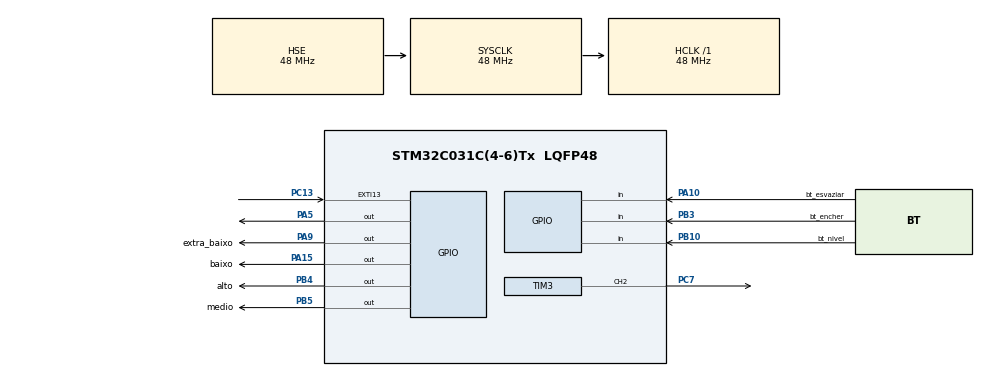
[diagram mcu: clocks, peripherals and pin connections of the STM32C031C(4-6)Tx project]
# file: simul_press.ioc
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Mcu.Family=STM32C0
Mcu.Name=STM32C031C(4-6)Tx
Mcu.Package=LQFP48
NUCLEO-C031C6.BUTTON=1
NUCLEO-C031C6.LD4=true
NUCLEO-C031C6.VCP=true
NVIC.EXTI4_15_IRQn=true\:0\:0\:false\:false\:true\:true\:true\:true
PA10.GPIO_Label=bt_esvaziar
PA10.GPIO_PuPd=GPIO_PULLUP
PA10.Signal=GPIO_Input
PA13.GPIO_Label=DEBUG_SWDIO
PA13.Signal=DEBUG_SWDIO
PA14-BOOT0.GPIO_Label=DEBUG_SWCLK
PA14-BOOT0.Signal=DEBUG_SWCLK
PA15.GPIO_Label=baixo
PA15.Signal=GPIO_Output
PA2.Signal=USART2_TX
PA3.Signal=USART2_RX
PA5.Signal=GPIO_Output
PA9.GPIO_Label=extra_baixo
PA9.Signal=GPIO_Output
PB10.GPIO_Label=bt_nivel
PB10.GPIO_PuPd=GPIO_PULLUP
PB10.Signal=GPIO_Input
PB3.GPIO_Label=bt_encher
PB3.GPIO_PuPd=GPIO_PULLUP
PB3.Signal=GPIO_Input
PB4.GPIO_Label=alto
PB4.Signal=GPIO_Output
PB5.GPIO_Label=medio
PB5.Signal=GPIO_Output
PC13.Signal=GPXTI13
PC14-OSCX_IN\ (PC14).GPIO_Label=RCC_OSCX_IN
PC14-OSCX_IN\ (PC14).Mode=LSE-External-Oscillator
PC14-OSCX_IN\ (PC14).Signal=RCC_OSCX_IN
PC15-OSCX_OUT\ (PC15).GPIO_Label=RCC_OSCX_OUT
PC15-OSCX_OUT\ (PC15).Mode=LSE-External-Oscillator
PC15-OSCX_OUT\ (PC15).Signal=RCC_OSCX_OUT
PC7.Signal=S_TIM3_CH2
PF0-OSC_IN\ (PF0).GPIO_Label=RCC_OSC_IN
PF0-OSC_IN\ (PF0).Mode=HSE-External-Oscillator
PF0-OSC_IN\ (PF0).Signal=RCC_OSC_IN
PF1-OSC_OUT\ (PF1).GPIO_Label=RCC_OSC_OUT
PF1-OSC_OUT\ (PF1).Mode=HSE-External-Oscillator
PF1-OSC_OUT\ (PF1).Signal=RCC_OSC_OUT
ProjectManager.HeapSize=0x200
ProjectManager.StackSize=0x400
ProjectManager.TargetToolchain=STM32CubeIDE
RCC.ADCFreq_Value=48000000
RCC.AHBFreq_Value=48000000
RCC.CortexFreq_Value=48000000
RCC.EXTERNAL_CLOCK_VALUE=12288000
RCC.HCLKFreq_Value=48000000
RCC.HSE_VALUE=48000000
RCC.HSISYSCLKDivider=RCC_HSI_DIV1
RCC.HSI_VALUE=48000000
RCC.SYSCLKFreq_VALUE=48000000
RCC.SYSCLKSource=RCC_SYSCLKSOURCE_HSE
SH.S_TIM3_CH2.0=TIM3_CH2,PWM Generation2 CH2
TIM3.Channel-PWM\ Generation2\ CH2=TIM_CHANNEL_2
TIM3.Period=1810
VP_NUCLEO-C031C6_VS_BSP_COMMON.Mode=COMMON
VP_TIM3_VS_ClockSourceINT.Mode=Internal
board=NUCLEO-C031C6

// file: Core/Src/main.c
/* USER CODE BEGIN Header */
/**
  ******************************************************************************
  * @file           : main.c
  * @brief          : Main program body
  ******************************************************************************
  * @attention
  *
  * Copyright (c) 2025 STMicroelectronics.
  * All rights reserved.
  *
  * This software is licensed under terms that can be found in the LICENSE file
  * in the root directory of this software component.
  * If no LICENSE file comes with this software, it is provided AS-IS.
  *
  ******************************************************************************
  */
/* USER CODE END Header */
#include "main.h"

/* USER CODE BEGIN PD */
#define FREQ_EXTRA_BAIXO   24850
#define FREQ_BAIXO         24300
#define FREQ_MEDIO         23500
#define FREQ_ALTO          22340
#define FREQ_VAZIO         26500

typedef enum {
	NIVEL_NENHUM = 0,
    NIVEL_EXTRA_BAIXO,
    NIVEL_BAIXO,
    NIVEL_MEDIO,
    NIVEL_ALTO
} NivelPressostato;

NivelPressostato nivelAtual = NIVEL_NENHUM;
uint32_t freqAlvo = FREQ_EXTRA_BAIXO;
uint32_t freqAtual = FREQ_VAZIO;

/* USER CODE END PD */

COM_InitTypeDef BspCOMInit;

TIM_HandleTypeDef htim3;

/* USER CODE BEGIN PV */
uint8_t enchendo = 0;
uint8_t esvaziando = 0;
uint32_t last_nivel_press_time = 0;
uint32_t last_encher_press_time = 0;
uint32_t last_esvaziar_press_time = 0;
const uint32_t DEBOUNCE_TIME = 400; // 400ms
uint32_t last_freq_update_time = 0;
uint32_t lastBlinkTime = 0;
uint8_t ledState = 0;
/* USER CODE END PV */

void SystemClock_Config(void);
static void MX_GPIO_Init(void);
static void MX_TIM3_Init(void);
/* USER CODE BEGIN PFP */
void PWM_SetFrequency(uint32_t freq);
void AtualizaLEDs(NivelPressostato nivel);
void PiscarLED(NivelPressostato nivel);

/* USER CODE END PFP */

int main(void)
{

  /* MCU Configuration--------------------------------------------------------*/

  /* Reset of all peripherals, Initializes the Flash interface and the Systick. */
  HAL_Init();

  /* Configure the system clock */
  SystemClock_Config();

  /* Initialize all configured peripherals */
  MX_GPIO_Init();
  MX_TIM3_Init();

  HAL_TIM_PWM_Start(&htim3, TIM_CHANNEL_2);

  /* Initialize leds */
  BSP_LED_Init(LED_GREEN);

  /* Initialize USER push-button, will be used to trigger an interrupt each time it's pressed.*/
  BSP_PB_Init(BUTTON_USER, BUTTON_MODE_EXTI);

  /* Initialize COM1 port (115200, 8 bits (7-bit data + 1 stop bit), no parity */
  BspCOMInit.BaudRate   = 115200;
  BspCOMInit.WordLength = COM_WORDLENGTH_8B;
  BspCOMInit.StopBits   = COM_STOPBITS_1;
  BspCOMInit.Parity     = COM_PARITY_NONE;
  BspCOMInit.HwFlowCtl  = COM_HWCONTROL_NONE;
  if (BSP_COM_Init(COM1, &BspCOMInit) != BSP_ERROR_NONE)
  {
    Error_Handler();
  }

   // Inicializa com frequência de "vazio"
   PWM_SetFrequency(FREQ_VAZIO);
   // Desliga todos os LEDs inicialmente
   HAL_GPIO_WritePin(GPIOA, extra_baixo_Pin, GPIO_PIN_RESET);
   HAL_GPIO_WritePin(GPIOA, baixo_Pin, GPIO_PIN_RESET);
   HAL_GPIO_WritePin(GPIOB, medio_Pin, GPIO_PIN_RESET);
   HAL_GPIO_WritePin(GPIOB, alto_Pin, GPIO_PIN_RESET);
  /* Infinite loop */
  /* USER CODE BEGIN WHILE */
   while (1)
     {
         uint32_t current_time = HAL_GetTick();

         // Lógica para o botão "selecionar nível"
         if (HAL_GPIO_ReadPin(GPIOB, bt_nivel_Pin) == GPIO_PIN_RESET &&
             (current_time - last_nivel_press_time) > DEBOUNCE_TIME)
         {
             last_nivel_press_time = current_time;

             if (nivelAtual == NIVEL_NENHUM) {
                 nivelAtual = NIVEL_EXTRA_BAIXO;
             }
             else if (nivelAtual == NIVEL_EXTRA_BAIXO) {
                 nivelAtual = NIVEL_BAIXO;
             }
             else if (nivelAtual == NIVEL_BAIXO) {
                 nivelAtual = NIVEL_MEDIO;
             }
             else if (nivelAtual == NIVEL_MEDIO) {
                 nivelAtual = NIVEL_ALTO;
             }
             else { // se estava em ALTO, volta para EXTRA_BAIXO
                 nivelAtual = NIVEL_EXTRA_BAIXO;
             }

             // Atualiza a frequência alvo conforme nível escolhido
             switch (nivelAtual) {
                 case NIVEL_EXTRA_BAIXO: freqAlvo = FREQ_EXTRA_BAIXO; break;
                 case NIVEL_BAIXO:       freqAlvo = FREQ_BAIXO;       break;
                 case NIVEL_MEDIO:       freqAlvo = FREQ_MEDIO;       break;
                 case NIVEL_ALTO:        freqAlvo = FREQ_ALTO;        break;
                 default:                freqAlvo = FREQ_VAZIO;       break; // fallback
             }

             // Desliga todos os LEDs até atingir a frequência do nível
             HAL_GPIO_WritePin(GPIOA, extra_baixo_Pin, GPIO_PIN_RESET);
             HAL_GPIO_WritePin(GPIOA, baixo_Pin, GPIO_PIN_RESET);
             HAL_GPIO_WritePin(GPIOB, medio_Pin, GPIO_PIN_RESET);
             HAL_GPIO_WritePin(GPIOB, alto_Pin, GPIO_PIN_RESET);
         }

         // Lógica para o botão "encher"
         if (HAL_GPIO_ReadPin(GPIOB, bt_encher_Pin) == GPIO_PIN_RESET && (current_time - last_encher_press_time) > DEBOUNCE_TIME) {
        	 last_encher_press_time  = current_time;
             enchendo = 1;
             esvaziando = 0;
         }

         // Lógica para o botão "esvaziar"
         if (HAL_GPIO_ReadPin(bt_esvaziar_GPIO_Port, bt_esvaziar_Pin) == GPIO_PIN_RESET && (current_time - last_esvaziar_press_time) > DEBOUNCE_TIME) {
             last_esvaziar_press_time = current_time;
             enchendo = 0;
             esvaziando = 1;
         }

             if (enchendo) {
                 if (freqAtual > freqAlvo) {
                     freqAtual -= 100;  // vai diminuindo até o alvo
                     if (freqAtual < freqAlvo) freqAtual = freqAlvo;
                     PWM_SetFrequency(freqAtual);
                     PiscarLED(nivelAtual);
                 } else {
                     enchendo = 0;
                     PWM_SetFrequency(freqAtual);
                     AtualizaLEDs(nivelAtual);
                 }
             } else if (esvaziando) {
                 if (freqAtual < FREQ_VAZIO) {
                     freqAtual += 100;  // vai subindo até "vazio"
                     if (freqAtual > FREQ_VAZIO) freqAtual = FREQ_VAZIO;
                     PWM_SetFrequency(freqAtual);
                     PiscarLED(nivelAtual);
                 } else {
                     esvaziando = 0;
                     nivelAtual = NIVEL_NENHUM;
                     PWM_SetFrequency(FREQ_VAZIO);
                     AtualizaLEDs(nivelAtual);
                 }
             }
     }
  /* USER CODE END 3 */
}

void SystemClock_Config(void)
{
  RCC_OscInitTypeDef RCC_OscInitStruct = {0};
  RCC_ClkInitTypeDef RCC_ClkInitStruct = {0};

  __HAL_FLASH_SET_LATENCY(FLASH_LATENCY_1);

  /** Initializes the RCC Oscillators according to the specified parameters
  * in the RCC_OscInitTypeDef structure.
  */
  RCC_OscInitStruct.OscillatorType = RCC_OSCILLATORTYPE_HSE;
  RCC_OscInitStruct.HSEState = RCC_HSE_ON;
  if (HAL_RCC_OscConfig(&RCC_OscInitStruct) != HAL_OK)
  {
    Error_Handler();
  }

  /** Initializes the CPU, AHB and APB buses clocks
  */
  RCC_ClkInitStruct.ClockType = RCC_CLOCKTYPE_HCLK|RCC_CLOCKTYPE_SYSCLK
                              |RCC_CLOCKTYPE_PCLK1;
  RCC_ClkInitStruct.SYSCLKSource = RCC_SYSCLKSOURCE_HSE;
  RCC_ClkInitStruct.SYSCLKDivider = RCC_SYSCLK_DIV1;
  RCC_ClkInitStruct.AHBCLKDivider = RCC_HCLK_DIV1;
  RCC_ClkInitStruct.APB1CLKDivider = RCC_APB1_DIV1;

  if (HAL_RCC_ClockConfig(&RCC_ClkInitStruct, FLASH_LATENCY_1) != HAL_OK)
  {
    Error_Handler();
  }
}

static void MX_TIM3_Init(void)
{

  TIM_ClockConfigTypeDef sClockSourceConfig = {0};
  TIM_MasterConfigTypeDef sMasterConfig = {0};
  TIM_OC_InitTypeDef sConfigOC = {0};

  htim3.Instance = TIM3;
  htim3.Init.Prescaler = 0;
  htim3.Init.CounterMode = TIM_COUNTERMODE_UP;
  htim3.Init.Period = 1810;
  htim3.Init.ClockDivision = TIM_CLOCKDIVISION_DIV1;
  htim3.Init.AutoReloadPreload = TIM_AUTORELOAD_PRELOAD_DISABLE;
  if (HAL_TIM_Base_Init(&htim3) != HAL_OK)
  {
    Error_Handler();
  }
  sClockSourceConfig.ClockSource = TIM_CLOCKSOURCE_INTERNAL;
  if (HAL_TIM_ConfigClockSource(&htim3, &sClockSourceConfig) != HAL_OK)
  {
    Error_Handler();
  }
  if (HAL_TIM_PWM_Init(&htim3) != HAL_OK)
  {
    Error_Handler();
  }
  sMasterConfig.MasterOutputTrigger = TIM_TRGO_RESET;
  sMasterConfig.MasterSlaveMode = TIM_MASTERSLAVEMODE_DISABLE;
  if (HAL_TIMEx_MasterConfigSynchronization(&htim3, &sMasterConfig) != HAL_OK)
  {
    Error_Handler();
  }
  sConfigOC.OCMode = TIM_OCMODE_PWM1;
  sConfigOC.Pulse = 0;
  sConfigOC.OCPolarity = TIM_OCPOLARITY_HIGH;
  sConfigOC.OCFastMode = TIM_OCFAST_DISABLE;
  if (HAL_TIM_PWM_ConfigChannel(&htim3, &sConfigOC, TIM_CHANNEL_2) != HAL_OK)
  {
    Error_Handler();
  }
  HAL_TIM_MspPostInit(&htim3);

}

static void MX_GPIO_Init(void)
{
  GPIO_InitTypeDef GPIO_InitStruct = {0};

  /* GPIO Ports Clock Enable */
  __HAL_RCC_GPIOC_CLK_ENABLE();
  __HAL_RCC_GPIOF_CLK_ENABLE();
  __HAL_RCC_GPIOB_CLK_ENABLE();
  __HAL_RCC_GPIOA_CLK_ENABLE();

  /*Configure GPIO pin Output Level */
  HAL_GPIO_WritePin(GPIOA, extra_baixo_Pin|baixo_Pin, GPIO_PIN_RESET);

  /*Configure GPIO pin Output Level */
  HAL_GPIO_WritePin(GPIOB, alto_Pin|medio_Pin, GPIO_PIN_RESET);

  /*Configure GPIO pins : bt_nivel_Pin bt_encher_Pin */
  GPIO_InitStruct.Pin = bt_nivel_Pin|bt_encher_Pin;
  GPIO_InitStruct.Mode = GPIO_MODE_INPUT;
  GPIO_InitStruct.Pull = GPIO_PULLUP;
  HAL_GPIO_Init(GPIOB, &GPIO_InitStruct);

  /*Configure GPIO pins : extra_baixo_Pin baixo_Pin */
  GPIO_InitStruct.Pin = extra_baixo_Pin|baixo_Pin;
  GPIO_InitStruct.Mode = GPIO_MODE_OUTPUT_PP;
  GPIO_InitStruct.Pull = GPIO_NOPULL;
  GPIO_InitStruct.Speed = GPIO_SPEED_FREQ_LOW;
  HAL_GPIO_Init(GPIOA, &GPIO_InitStruct);

  /*Configure GPIO pin : bt_esvaziar_Pin */
  GPIO_InitStruct.Pin = bt_esvaziar_Pin;
  GPIO_InitStruct.Mode = GPIO_MODE_INPUT;
  GPIO_InitStruct.Pull = GPIO_PULLUP;
  HAL_GPIO_Init(bt_esvaziar_GPIO_Port, &GPIO_InitStruct);

  /*Configure GPIO pins : alto_Pin medio_Pin */
  GPIO_InitStruct.Pin = alto_Pin|medio_Pin;
  GPIO_InitStruct.Mode = GPIO_MODE_OUTPUT_PP;
  GPIO_InitStruct.Pull = GPIO_NOPULL;
  GPIO_InitStruct.Speed = GPIO_SPEED_FREQ_LOW;
  HAL_GPIO_Init(GPIOB, &GPIO_InitStruct);

}

/* USER CODE BEGIN 4 */
void PWM_SetFrequency(uint32_t freq)
{
    uint32_t timer_clock = 48000000; // APB1 Timer clock
    uint32_t prescaler = 0;

    uint32_t arr = (timer_clock / (prescaler + 1)) / freq - 1;

    __HAL_TIM_SET_AUTORELOAD(&htim3, arr); //sobrescreve arr para chegar na frequencia desejada
    __HAL_TIM_SET_COMPARE(&htim3, TIM_CHANNEL_2, arr/2); // duty 50%
}

void AtualizaLEDs(NivelPressostato nivel)
{
    // Desliga todos os LEDs primeiro
	HAL_GPIO_WritePin(GPIOA, extra_baixo_Pin, GPIO_PIN_RESET);
	HAL_GPIO_WritePin(GPIOA, baixo_Pin, GPIO_PIN_RESET);
	HAL_GPIO_WritePin(GPIOB, medio_Pin, GPIO_PIN_RESET);
	HAL_GPIO_WritePin(GPIOB, alto_Pin, GPIO_PIN_RESET);

    // Acende apenas o LED correspondente ao nível atingido
    switch (nivel) {
        case NIVEL_EXTRA_BAIXO:
            HAL_GPIO_WritePin(GPIOA, extra_baixo_Pin, GPIO_PIN_SET);
            break;
        case NIVEL_BAIXO:
            HAL_GPIO_WritePin(GPIOA, baixo_Pin, GPIO_PIN_SET);
            break;
        case NIVEL_MEDIO:
            HAL_GPIO_WritePin(GPIOB, medio_Pin, GPIO_PIN_SET);
            break;
        case NIVEL_ALTO:
            HAL_GPIO_WritePin(GPIOB, alto_Pin, GPIO_PIN_SET);
            break;
        default:
            // Nenhum LED para NIVEL_NENHUM
            break;
    }
}

void PiscarLED(NivelPressostato nivel)
{
    uint32_t current_time = HAL_GetTick();

    // Alterna a cada 500 ms
    if (current_time - lastBlinkTime >= 500) {
        lastBlinkTime = current_time;
        ledState = !ledState;
    }

    // Desliga todos os LEDs
    HAL_GPIO_WritePin(GPIOA, extra_baixo_Pin, GPIO_PIN_RESET);
    HAL_GPIO_WritePin(GPIOA, baixo_Pin, GPIO_PIN_RESET);
    HAL_GPIO_WritePin(GPIOB, medio_Pin, GPIO_PIN_RESET);
    HAL_GPIO_WritePin(GPIOB, alto_Pin, GPIO_PIN_RESET);

    if (ledState) {
        AtualizaLEDs(nivel); // Acende apenas o nível selecionado
    }
}
/* USER CODE END 4 */

void Error_Handler(void)
{
  __disable_irq();
  while (1)
  {
  }
}
